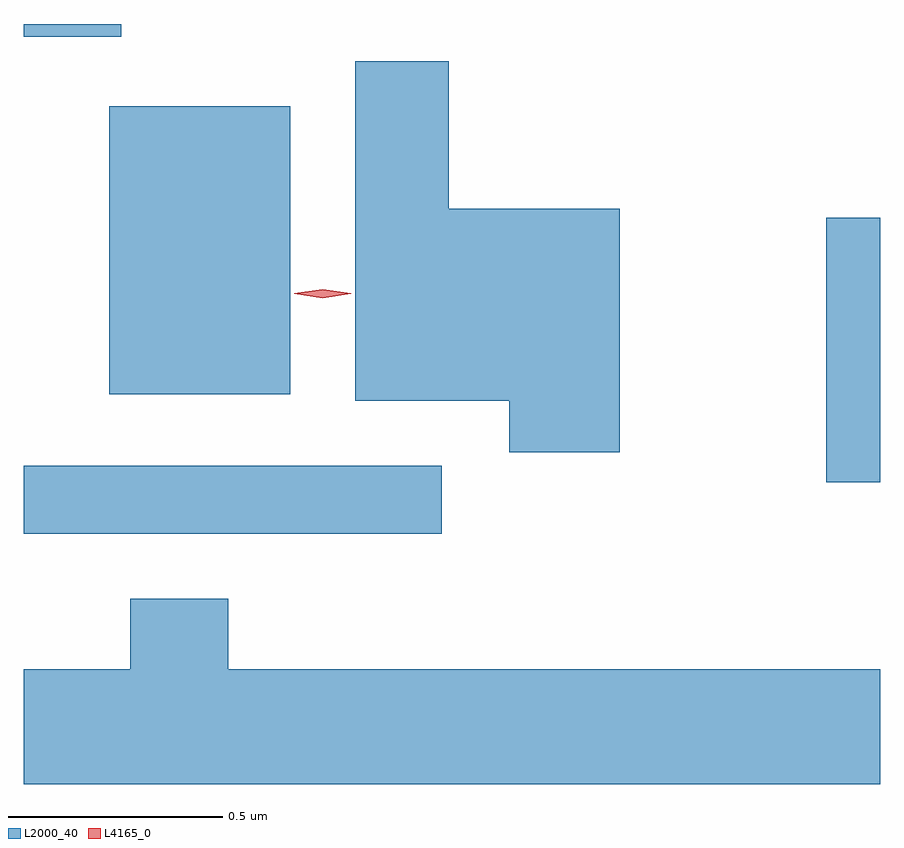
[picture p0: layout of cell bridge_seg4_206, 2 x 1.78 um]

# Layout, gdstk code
import gdstk
lib = gdstk.Library(unit=1e-6, precision=1e-09)
def R(c, l, rs):  # rectangles x0, y0, x1, y1
    for r in rs: c.add(gdstk.rectangle(r[:2], r[2:], *l))
def P(c, l, *ps):  # polygons
    for p in ps: c.add(gdstk.Polygon(p, *l))
L2000_40 = (2000, 40)
L4165_0 = (4165, 0)

bridge_seg4_206 = lib.new_cell('bridge_seg4_206')
R(bridge_seg4_206, L2000_40, [(1128.032,1286.441,1129.008,1286.599), (1129.906,1286.561,1130.032,1287.179), (1128.231,1286.766,1128.654,1287.439), (1128.032,1287.601,1128.259,1287.631)])
P(bridge_seg4_206, L2000_40, [(1129.424,1287.199),(1129.024,1287.199),(1129.024,1287.544),(1128.806,1287.544),(1128.806,1286.751),(1129.166,1286.751),(1129.166,1286.631),(1129.424,1286.631)],
  [(1130.032,1286.124),(1128.509,1286.124),(1128.509,1286.289),(1128.281,1286.289),(1128.281,1286.124),(1128.032,1286.124),(1128.032,1285.856),(1130.032,1285.856)])
P(bridge_seg4_206, L4165_0, [(1128.73,1286.991),(1128.664,1287.001),(1128.664,1287.001),(1128.664,1287.002),(1128.73,1287.011),(1128.796,1287.002),(1128.797,1287.001),(1128.796,1287.001)])

lib.write_gds('bridge_seg4_206.gds')
